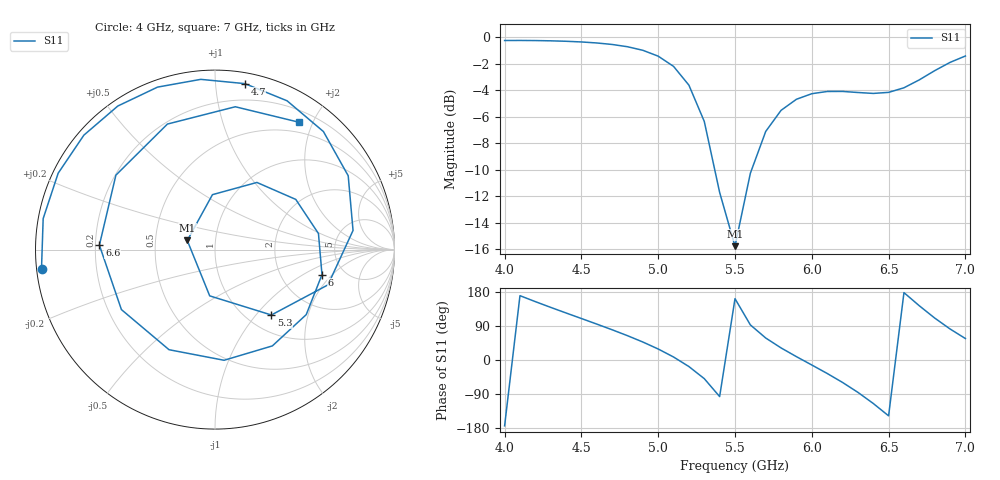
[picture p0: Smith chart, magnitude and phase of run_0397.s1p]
! Touchstone file exported from HFSS 2024.2.0
!  File:  C:/Users/wsak9/Desktop/Sim Fast/Widenad Patch/WP_AI_V1_sweep.aedt
!  Generated:  08:03:19 AM Oct 14, 2026
!  Design:  A1_model
!  Project:  WP_AI_V1_sweep
!  Setup:  Setup1
!  Solution:  Sweep
! Variables:
!  Air_gap = 4.48mm
!  Curve_Amp1 = 1.99
!  Curve_len1 = 1
!  Curve_pos = 10.555mm
!  Extra = 2.3mm
!  H_sub = 0.79mm
!  L_Patch = 17.11mm
!  L_Patch1 = 12.59mm
!  Sx = 2.01mm
!  Sy = 4.16mm
!  WS = 0.88mm
!  W_Patch = 11.06mm
!  W_Patch1 = 10.29mm
!Data is not renormalized
# GHz S MA
! Terminal data exported
! Port[1] = 1
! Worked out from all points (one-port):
!   31 points, 4 GHz to 7 GHz, reference per port
!   lowest |S11| = -15.8 dB at 5.5 GHz (marker M1), VSWR 1.39
!   |S11| at or under -10 dB: 5.368 GHz to 5.609 GHz (240.7 MHz wide, 4.38 % of centre)
!   S11 on the Smith chart (normalised r, x): 4 GHz: 0.01, -0.05; 4.7 GHz: 0.08, +1.19; 5.3 GHz: 1.27, -1.21; 6 GHz: 3.42, -1.53; 6.6 GHz: 0.22, +0.02; 7 GHz: 0.35, +1.80
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4  0.9724 -173.7
4.2  0.972 154.0
4.4  0.966 124.1
4.6  0.9518 94.8
4.7  0.9395 79.8
4.8  0.9212 64.2
4.9  0.893 47.4
5  0.8486 29.0
5.1  0.7765 7.9
5.2  0.6594 -17.3
5.3  0.4811 -49.2
5.4  0.2595 -96.5
5.5  0.1626 161.8
5.6  0.3065 92.6
5.7  0.441 58.0
5.8  0.5298 31.9
5.9  0.5833 8.8
6  0.6122 -13.2
6.1  0.6242 -35.5
6.2  0.6245 -59.2
6.3  0.6187 -85.3
6.4  0.6137 -114.7
6.5  0.6193 -147.3
6.6  0.6446 177.8
6.7  0.6906 143.1
6.8  0.748 110.8
6.9  0.8038 81.9
7  0.8498 56.6
